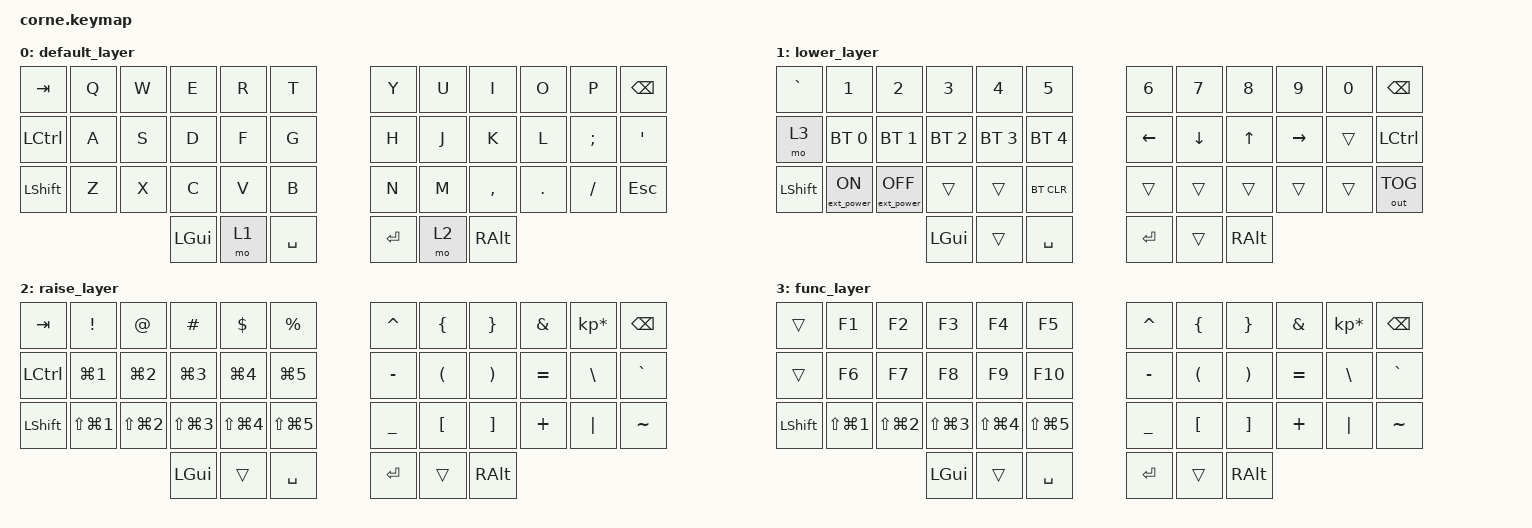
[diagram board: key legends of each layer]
/*
 * Copyright (c) 2020 The ZMK Contributors
 *
 * SPDX-License-Identifier: MIT
 */

#include <behaviors.dtsi>
#include <dt-bindings/zmk/keys.h>
#include <dt-bindings/zmk/bt.h>
#include <dt-bindings/zmk/ext_power.h>
#include <dt-bindings/zmk/outputs.h>

/ {
    behaviors {
        td0: tap_dance_0 {
            compatible = "zmk,behavior-tap-dance";
            #binding-cells = <0>;
            tapping-term-ms = <150>;
            bindings = <&kp LC(N1)>, <&kp LS(LC(N1))>;
        };
        td1: tap_dance_1 {
            compatible = "zmk,behavior-tap-dance";
            #binding-cells = <0>;
            tapping-term-ms = <150>;
            bindings = <&kp LC(N2)>, <&kp LS(LC(N2))>;
        };
        td2: tap_dance_2 {
            compatible = "zmk,behavior-tap-dance";
            #binding-cells = <0>;
            tapping-term-ms = <150>;
            bindings = <&kp LC(N3)>, <&kp LS(LC(N3))>;
        };
        td3: tap_dance_3 {
            compatible = "zmk,behavior-tap-dance";
            #binding-cells = <0>;
            tapping-term-ms = <150>;
            bindings = <&kp LC(N4)>, <&kp LS(LC(N4))>;
        };
        td4: tap_dance_4 {
            compatible = "zmk,behavior-tap-dance";
            #binding-cells = <0>;
            tapping-term-ms = <150>;
            bindings = <&kp LC(N5)>, <&kp LS(LC(N5))>;
        };
    };

    keymap {
      compatible = "zmk,keymap";

                default_layer {
// -----------------------------------------------------------------------------------------
// |  TAB |  Q  |  W  |  E  |  R  |  T  |   |  Y  |  U   |  I  |  O  |  P  | BKSP |
// | CTRL |  A  |  S  |  D  |  F  |  G  |   |  H  |  J   |  K  |  L  |  ;  |  '   |
// | SHFT |  Z  |  X  |  C  |  V  |  B  |   |  N  |  M   |  ,  |  .  |  /  | ESC  |
//                    | GUI | LWR | SPC |   | ENT | RSE  | ALT |
                        bindings = <
   &kp TAB   &kp Q &kp W &kp E &kp R &kp T   &kp Y &kp U  &kp I     &kp O   &kp P    &kp BSPC
   &kp LCTRL &kp A &kp S &kp D &kp F &kp G   &kp H &kp J  &kp K     &kp L   &kp SEMI &kp SQT
   &kp LSHFT &kp Z &kp X &kp C &kp V &kp B   &kp N &kp M  &kp COMMA &kp DOT &kp FSLH &kp ESC
                  &kp LGUI &mo 1 &kp SPACE   &kp RET &mo 2 &kp RALT
                        >;
                };
                lower_layer {
// -----------------------------------------------------------------------------------------
// |  `   |  1  |  2  |  3  |  4  |  5  |   |  6  |  7  |  8  |  9  |  0  | BKSP |
// |      | BT1 | BT2 | BT3 | BT4 | BT5 |   | LFT | DWN |  UP | RGT |     | CTRL |
// | SHFT | ON  | OFF |     |     |BTCLR|   |     |     |     |     |     | BTTG |
//                    | GUI |     | SPC |   | ENT |     | ALT |
                        bindings = <
   &kp GRAVE  &kp N1           &kp N2             &kp N3       &kp N4       &kp N5         &kp N6   &kp N7   &kp N8 &kp N9    &kp N0 &kp BSPC
   &mo 3     &bt BT_SEL 0     &bt BT_SEL 1       &bt BT_SEL 2 &bt BT_SEL 3 &bt BT_SEL 4   &kp LEFT &kp DOWN &kp UP &kp RIGHT &trans &kp LCTRL
   &kp LSHFT  &ext_power EP_ON &ext_power EP_OFF  &trans       &trans       &bt BT_CLR     &trans   &trans   &trans &trans    &trans &out OUT_TOG
                                                  &kp LGUI     &trans       &kp SPACE      &kp RET  &trans   &kp RALT
                        >;
                };
                raise_layer {
// -----------------------------------------------------------------------------------------
// |  TAB |  !  |  @  |  #  |  $  |  %  |   |  ^  |  {  |  }  |  &  |  *  | BKSP |
// | CTRL | DT1 | DT2 | DT3 | DT4 | DT5 |   |  -  |  (  |  )  |  =  |  \  |  `   |
// | SHFT | MT1 | MT2 | MT3 | MT4 | MT5 |   |  _  |  [  |  ]  |  +  | "|" |  ~   |
//                    | GUI |     | SPC |   | ENT |     | ALT |
                        bindings = <
   &kp  TAB  &kp EXCL       &kp AT         &kp HASH       &kp DLLR       &kp PRCNT        &kp CARET &kp LBRC  &kp RBRC &kp AMPS  &kp KP_MULTIPLY &kp BSPC
   &kp LCTRL &kp LG(N1)     &kp LG(N2)     &kp LG(N3)     &kp LG(N4)     &kp LG(N5)       &kp MINUS &kp LPAR  &kp RPAR &kp EQUAL &kp BSLH        &kp GRAVE
   &kp LSHFT &kp LS(LG(N1)) &kp LS(LG(N2)) &kp LS(LG(N3)) &kp LS(LG(N4)) &kp LS(LG(N5))   &kp UNDER &kp LBKT  &kp RBKT &kp PLUS  &kp PIPE        &kp TILDE
                                           &kp LGUI       &trans         &kp SPACE        &kp RET   &trans    &kp RALT
                        >;
                };
                func_layer {
// -----------------------------------------------------------------------------------------
// |  TAB |  !  |  @  |  #  |  $  |  %  |   |  ^  |  {  |  }  |  &  |  *  | BKSP |
// | CTRL | DT1 | DT2 | DT3 | DT4 | DT5 |   |  -  |  (  |  )  |  =  |  \  |  `   |
// | SHFT | MT1 | MT2 | MT3 | MT4 | MT5 |   |  _  |  [  |  ]  |  +  | "|" |  ~   |
//                    | GUI |     | SPC |   | ENT |     | ALT |
                        bindings = <
   &trans   &kp F1       &kp F2         &kp F3       &kp F4       &kp F5           &kp CARET &kp LBRC  &kp RBRC &kp AMPS  &kp KP_MULTIPLY &kp BSPC
   &trans   &kp F6       &kp F7         &kp F8       &kp F9       &kp F10          &kp MINUS &kp LPAR  &kp RPAR &kp EQUAL &kp BSLH        &kp GRAVE
   &kp LSHFT &kp LS(LG(N1)) &kp LS(LG(N2)) &kp LS(LG(N3)) &kp LS(LG(N4)) &kp LS(LG(N5))   &kp UNDER &kp LBKT  &kp RBKT &kp PLUS  &kp PIPE        &kp TILDE
                                           &kp LGUI       &trans         &kp SPACE        &kp RET   &trans    &kp RALT
                        >;
                };
        };
};

